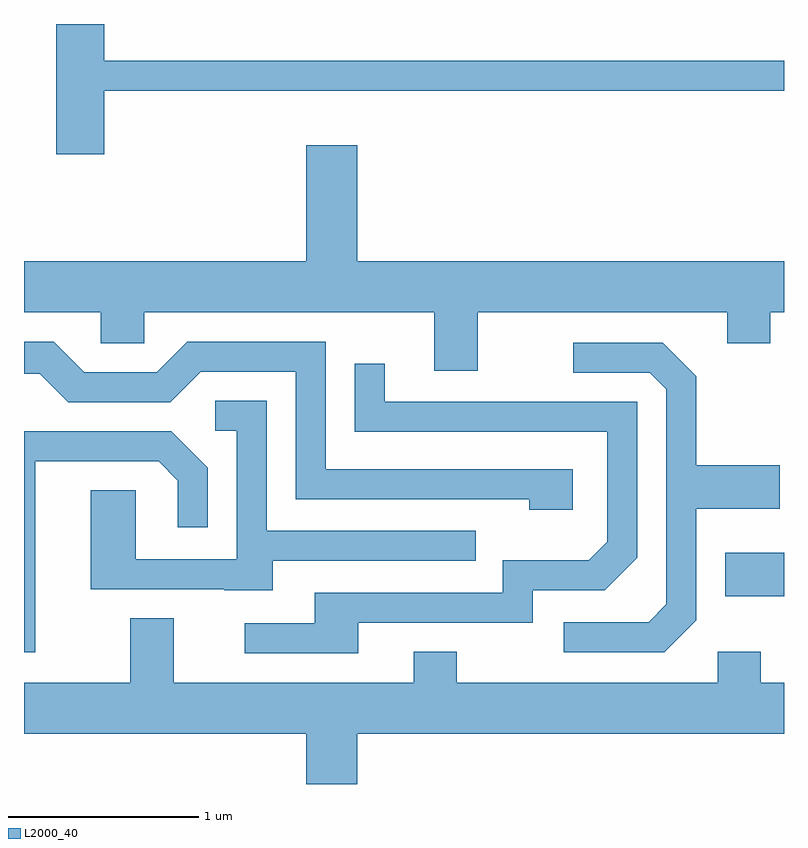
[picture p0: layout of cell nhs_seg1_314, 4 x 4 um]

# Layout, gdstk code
import gdstk
lib = gdstk.Library(unit=1e-6, precision=1e-09)
def R(c, l, rs):  # rectangles x0, y0, x1, y1
    for r in rs: c.add(gdstk.rectangle(r[:2], r[2:], *l))
def P(c, l, *ps):  # polygons
    for p in ps: c.add(gdstk.Polygon(p, *l))
L2000_40 = (2000, 40)

nhs_seg1_314 = lib.new_cell('nhs_seg1_314')
R(nhs_seg1_314, L2000_40, [(197.301,944.701,197.611,944.929)])
P(nhs_seg1_314, L2000_40, [(194.034,947.361),(197.611,947.361),(197.611,947.519),(194.034,947.519),(194.034,947.712),(193.781,947.712),(193.781,947.026),(194.034,947.026)],
  [(195.999,946.196),(197.311,946.196),(197.311,946.031),(197.539,946.031),(197.539,946.196),(197.611,946.196),(197.611,946.464),(195.364,946.464),(195.364,947.074),(195.096,947.074),(195.096,946.464),(193.611,946.464),(193.611,946.196),(194.016,946.196),(194.016,946.031),(194.244,946.031),(194.244,946.196),(195.771,946.196),(195.771,945.886),(195.999,945.886)],
  [(196.499,945.369),(195.199,945.369),(195.199,946.039),(194.469,946.039),(194.309,945.879),(193.927,945.879),(193.767,946.039),(193.611,946.039),(193.611,945.871),(193.694,945.871),(193.844,945.721),(194.382,945.721),(194.542,945.881),(195.041,945.881),(195.041,945.211),(196.271,945.211),(196.271,945.156),(196.499,945.156)],
  [(197.149,944.574),(197.149,945.161),(197.589,945.161),(197.589,945.389),(197.149,945.389),(197.149,945.857),(196.972,946.034),(196.503,946.034),(196.503,945.876),(196.904,945.876),(196.991,945.789),(196.991,944.657),(196.899,944.564),(196.453,944.564),(196.453,944.406),(196.982,944.406)],
  [(195.369,944.561),(196.289,944.561),(196.289,944.731),(196.667,944.731),(196.839,944.904),(196.839,945.724),(195.509,945.724),(195.509,945.923),(195.351,945.923),(195.351,945.566),(196.681,945.566),(196.681,944.987),(196.584,944.889),(196.131,944.889),(196.131,944.719),(195.141,944.719),(195.141,944.559),(194.773,944.559),(194.773,944.401),(195.369,944.401)],
  [(194.919,944.886),(195.988,944.886),(195.988,945.044),(194.889,945.044),(194.889,945.729),(194.618,945.729),(194.618,945.571),(194.731,945.571),(194.731,944.894),(194.199,944.894),(194.199,945.259),(193.961,945.259),(193.961,944.736),(194.665,944.736),(194.665,944.731),(194.919,944.731)],
  [(193.669,945.411),(194.319,945.411),(194.421,945.309),(194.421,945.063),(194.579,945.063),(194.579,945.377),(194.387,945.569),(193.611,945.569),(193.611,944.406),(193.669,944.406)],
  [(195.364,943.976),(197.611,943.976),(197.611,944.244),(197.489,944.244),(197.489,944.409),(197.261,944.409),(197.261,944.244),(195.889,944.244),(195.889,944.409),(195.661,944.409),(195.661,944.244),(194.399,944.244),(194.399,944.584),(194.171,944.584),(194.171,944.244),(193.611,944.244),(193.611,943.976),(195.096,943.976),(195.096,943.712),(195.364,943.712)])

lib.write_gds('nhs_seg1_314.gds')
